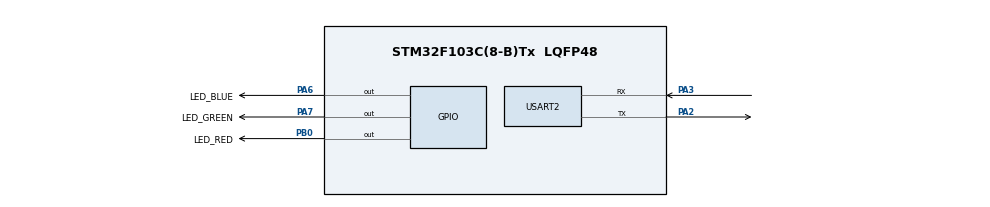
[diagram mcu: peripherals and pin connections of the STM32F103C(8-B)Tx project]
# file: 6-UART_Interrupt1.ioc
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Mcu.Family=STM32F1
Mcu.Name=STM32F103C(8-B)Tx
Mcu.Package=LQFP48
NVIC.PriorityGroup=NVIC_PRIORITYGROUP_4
NVIC.USART2_IRQn=true\:0\:0\:false\:false\:true\:true\:true\:true
PA13.Mode=Serial_Wire
PA13.Signal=SYS_JTMS-SWDIO
PA14.Mode=Serial_Wire
PA14.Signal=SYS_JTCK-SWCLK
PA2.Mode=Asynchronous
PA2.Signal=USART2_TX
PA3.Mode=Asynchronous
PA3.Signal=USART2_RX
PA6.GPIO_Label=LED_BLUE
PA6.Signal=GPIO_Output
PA7.GPIO_Label=LED_GREEN
PA7.Signal=GPIO_Output
PB0.GPIO_Label=LED_RED
PB0.Signal=GPIO_Output
ProjectManager.HeapSize=0x200
ProjectManager.StackSize=0x400
ProjectManager.TargetToolchain=STM32CubeIDE
RCC.APB1Freq_Value=8000000
RCC.APB2Freq_Value=8000000
USART2.VirtualMode=VM_ASYNC
board=custom

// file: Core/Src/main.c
/* USER CODE BEGIN Header */
/**
 *
 * Upgrade - select NVIC -UART2
 * Use transmit it and receive it and callback
 * Avoid the CPU computation
 *
  ******************************************************************************
  * @file           : main.c
  * @brief          : Main program body
  ******************************************************************************
  * @attention
  *
  * Copyright (c) 2024 STMicroelectronics.
  * All rights reserved.
  *
  * This software is licensed under terms that can be found in the LICENSE file
  * in the root directory of this software component.
  * If no LICENSE file comes with this software, it is provided AS-IS.
  *
  ******************************************************************************
  */
/* USER CODE END Header */
#include "main.h"

UART_HandleTypeDef huart2;

/* USER CODE BEGIN PV */
uint8_t receiveData[2];
/* USER CODE END PV */

void SystemClock_Config(void);
static void MX_GPIO_Init(void);
static void MX_USART2_UART_Init(void);

/* USER CODE BEGIN 0 */
void HAL_UART_RxCpltCallback(UART_HandleTypeDef *huart){
	HAL_UART_Transmit_IT(&huart2, receiveData, 2);
	GPIO_PinState state = GPIO_PIN_SET;

	// rule: enter text at serial terminal
	// R0 = red off, R1 = red on;
	// R1 = red off, R1 = red on;
	// G0 = green off, R1 = green on;
	// G1 = green off, R1 = green on;
	// B0 = blue off, R1 = blue on;
	// B1 = blue off, R1 = blue on;

	// weakness: uart received must be exact size (2 char)
	if (receiveData[1]=='0'){
	  state = GPIO_PIN_RESET;
	}else if (receiveData[1]=='1') {
	  state = GPIO_PIN_SET;

	}

	if (receiveData[0]=='R'){
	  HAL_GPIO_WritePin(LED_RED_GPIO_Port, LED_RED_Pin, state);

	}else if (receiveData[0]=='G') {
	  HAL_GPIO_WritePin(LED_GREEN_GPIO_Port, LED_GREEN_Pin, state);
	}else if (receiveData[0]=='B') {
	  HAL_GPIO_WritePin(LED_BLUE_GPIO_Port, LED_BLUE_Pin, state);
	}
	HAL_UART_Receive_IT(&huart2, receiveData, 2);
}
/* USER CODE END 0 */

int main(void)
{

  /* MCU Configuration--------------------------------------------------------*/

  /* Reset of all peripherals, Initializes the Flash interface and the Systick. */
  HAL_Init();

  /* Configure the system clock */
  SystemClock_Config();

  /* Initialize all configured peripherals */
  MX_GPIO_Init();
  MX_USART2_UART_Init();
  /* USER CODE BEGIN 2 */

  HAL_UART_Receive_IT(&huart2, receiveData, 2);
  /* USER CODE END 2 */

  /* Infinite loop */
  /* USER CODE BEGIN WHILE */
  while (1)
  {
	  HAL_Delay(2000);

    /* USER CODE END WHILE */

  }
}

void SystemClock_Config(void)
{
  RCC_OscInitTypeDef RCC_OscInitStruct = {0};
  RCC_ClkInitTypeDef RCC_ClkInitStruct = {0};

  /** Initializes the RCC Oscillators according to the specified parameters
  * in the RCC_OscInitTypeDef structure.
  */
  RCC_OscInitStruct.OscillatorType = RCC_OSCILLATORTYPE_HSI;
  RCC_OscInitStruct.HSIState = RCC_HSI_ON;
  RCC_OscInitStruct.HSICalibrationValue = RCC_HSICALIBRATION_DEFAULT;
  RCC_OscInitStruct.PLL.PLLState = RCC_PLL_NONE;
  if (HAL_RCC_OscConfig(&RCC_OscInitStruct) != HAL_OK)
  {
    Error_Handler();
  }

  /** Initializes the CPU, AHB and APB buses clocks
  */
  RCC_ClkInitStruct.ClockType = RCC_CLOCKTYPE_HCLK|RCC_CLOCKTYPE_SYSCLK
                              |RCC_CLOCKTYPE_PCLK1|RCC_CLOCKTYPE_PCLK2;
  RCC_ClkInitStruct.SYSCLKSource = RCC_SYSCLKSOURCE_HSI;
  RCC_ClkInitStruct.AHBCLKDivider = RCC_SYSCLK_DIV1;
  RCC_ClkInitStruct.APB1CLKDivider = RCC_HCLK_DIV1;
  RCC_ClkInitStruct.APB2CLKDivider = RCC_HCLK_DIV1;

  if (HAL_RCC_ClockConfig(&RCC_ClkInitStruct, FLASH_LATENCY_0) != HAL_OK)
  {
    Error_Handler();
  }
}

static void MX_USART2_UART_Init(void)
{

  huart2.Instance = USART2;
  huart2.Init.BaudRate = 115200;
  huart2.Init.WordLength = UART_WORDLENGTH_8B;
  huart2.Init.StopBits = UART_STOPBITS_1;
  huart2.Init.Parity = UART_PARITY_NONE;
  huart2.Init.Mode = UART_MODE_TX_RX;
  huart2.Init.HwFlowCtl = UART_HWCONTROL_NONE;
  huart2.Init.OverSampling = UART_OVERSAMPLING_16;
  if (HAL_UART_Init(&huart2) != HAL_OK)
  {
    Error_Handler();
  }

}

static void MX_GPIO_Init(void)
{
  GPIO_InitTypeDef GPIO_InitStruct = {0};

  /* GPIO Ports Clock Enable */
  __HAL_RCC_GPIOA_CLK_ENABLE();
  __HAL_RCC_GPIOB_CLK_ENABLE();

  /*Configure GPIO pin Output Level */
  HAL_GPIO_WritePin(GPIOA, LED_BLUE_Pin|LED_GREEN_Pin, GPIO_PIN_RESET);

  /*Configure GPIO pin Output Level */
  HAL_GPIO_WritePin(LED_RED_GPIO_Port, LED_RED_Pin, GPIO_PIN_RESET);

  /*Configure GPIO pins : LED_BLUE_Pin LED_GREEN_Pin */
  GPIO_InitStruct.Pin = LED_BLUE_Pin|LED_GREEN_Pin;
  GPIO_InitStruct.Mode = GPIO_MODE_OUTPUT_PP;
  GPIO_InitStruct.Pull = GPIO_NOPULL;
  GPIO_InitStruct.Speed = GPIO_SPEED_FREQ_LOW;
  HAL_GPIO_Init(GPIOA, &GPIO_InitStruct);

  /*Configure GPIO pin : LED_RED_Pin */
  GPIO_InitStruct.Pin = LED_RED_Pin;
  GPIO_InitStruct.Mode = GPIO_MODE_OUTPUT_PP;
  GPIO_InitStruct.Pull = GPIO_NOPULL;
  GPIO_InitStruct.Speed = GPIO_SPEED_FREQ_LOW;
  HAL_GPIO_Init(LED_RED_GPIO_Port, &GPIO_InitStruct);

}

void Error_Handler(void)
{
  __disable_irq();
  while (1)
  {
  }
}
